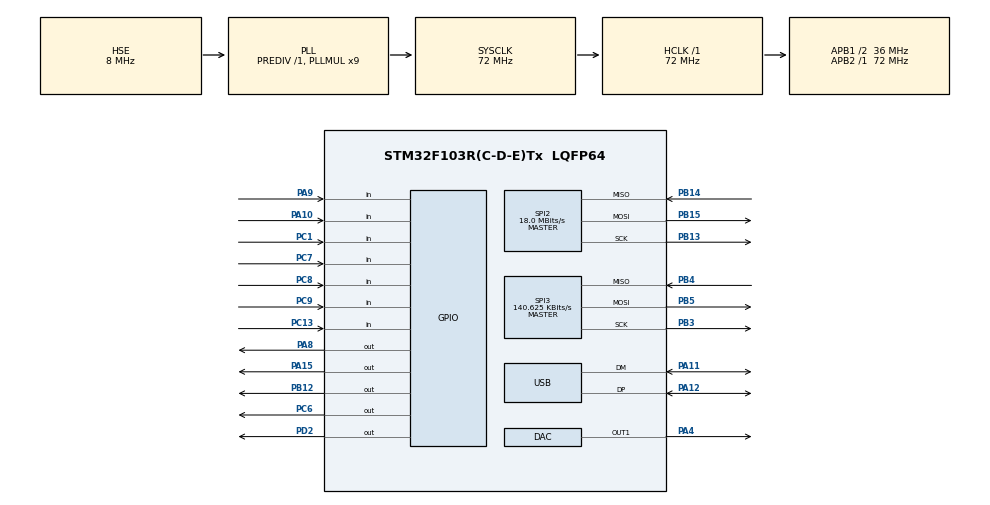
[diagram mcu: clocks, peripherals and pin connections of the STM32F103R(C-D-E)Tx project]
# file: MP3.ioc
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DAC.DAC_OutputBuffer=DAC_OUTPUTBUFFER_DISABLE
DAC.DAC_Trigger=DAC_TRIGGER_T6_TRGO
Dma.DAC_CH1.0.Direction=DMA_MEMORY_TO_PERIPH
Dma.DAC_CH1.0.Instance=DMA2_Channel3
Dma.DAC_CH1.0.MemDataAlignment=DMA_MDATAALIGN_HALFWORD
Dma.DAC_CH1.0.MemInc=DMA_MINC_ENABLE
Dma.DAC_CH1.0.Mode=DMA_CIRCULAR
Dma.DAC_CH1.0.PeriphDataAlignment=DMA_PDATAALIGN_HALFWORD
Dma.DAC_CH1.0.PeriphInc=DMA_PINC_DISABLE
Dma.DAC_CH1.0.Priority=DMA_PRIORITY_HIGH
Dma.Request0=DAC_CH1
FATFS._CODE_PAGE=437
FATFS._FS_NORTC=1
FATFS._FS_TINY=0
FATFS._NORTC_MON=10
FATFS._USE_LFN=2
Mcu.Family=STM32F1
Mcu.Name=STM32F103R(C-D-E)Tx
Mcu.Package=LQFP64
NVIC.DMA2_Channel3_IRQn=true\:0\:0\:false\:false\:true\:false
NVIC.PriorityGroup=NVIC_PRIORITYGROUP_2
NVIC.USB_LP_CAN1_RX0_IRQn=true\:0\:0\:false\:false\:true\:false
PA10.GPIO_PuPd=GPIO_PULLUP
PA10.Signal=GPIO_Input
PA11.Mode=Device
PA11.Signal=USB_DM
PA12.Mode=Device
PA12.Signal=USB_DP
PA13.Mode=Serial_Wire
PA13.Signal=SYS_JTMS-SWDIO
PA14.Mode=Serial_Wire
PA14.Signal=SYS_JTCK-SWCLK
PA15.GPIO_ModeDefaultOutputPP=GPIO_MODE_OUTPUT_PP
PA15.GPIO_Speed=GPIO_SPEED_FREQ_HIGH
PA15.PinState=GPIO_PIN_SET
PA15.Signal=GPIO_Output
PA4.Signal=COMP_DAC1_group
PA8.GPIO_Speed=GPIO_SPEED_FREQ_HIGH
PA8.PinState=GPIO_PIN_SET
PA8.Signal=GPIO_Output
PA9.GPIO_PuPd=GPIO_PULLUP
PA9.Signal=GPIO_Input
PB12.GPIO_Speed=GPIO_SPEED_FREQ_HIGH
PB12.Signal=GPIO_Output
PB13.Mode=Full_Duplex_Master
PB13.Signal=SPI2_SCK
PB14.Mode=Full_Duplex_Master
PB14.Signal=SPI2_MISO
PB15.Mode=Full_Duplex_Master
PB15.Signal=SPI2_MOSI
PB3.Mode=Full_Duplex_Master
PB3.Signal=SPI3_SCK
PB4.Mode=Full_Duplex_Master
PB4.Signal=SPI3_MISO
PB5.Mode=Full_Duplex_Master
PB5.Signal=SPI3_MOSI
PC1.GPIO_PuPd=GPIO_PULLUP
PC1.Signal=GPIO_Input
PC13-TAMPER-RTC.GPIO_PuPd=GPIO_PULLUP
PC13-TAMPER-RTC.Signal=GPIO_Input
PC14-OSC32_IN.Mode=LSE-External-Oscillator
PC14-OSC32_IN.Signal=RCC_OSC32_IN
PC15-OSC32_OUT.Mode=LSE-External-Oscillator
PC15-OSC32_OUT.Signal=RCC_OSC32_OUT
PC6.GPIO_Speed=GPIO_SPEED_FREQ_HIGH
PC6.Signal=GPIO_Output
PC7.GPIO_PuPd=GPIO_PULLUP
PC7.Signal=GPIO_Input
PC8.GPIO_PuPd=GPIO_PULLUP
PC8.Signal=GPIO_Input
PC9.GPIO_PuPd=GPIO_PULLUP
PC9.Signal=GPIO_Input
PD0-OSC_IN.Mode=HSE-External-Oscillator
PD0-OSC_IN.Signal=RCC_OSC_IN
PD1-OSC_OUT.Mode=HSE-External-Oscillator
PD1-OSC_OUT.Signal=RCC_OSC_OUT
PD2.PinState=GPIO_PIN_SET
PD2.Signal=GPIO_Output
ProjectManager.HeapSize=0x200
ProjectManager.StackSize=0x400
ProjectManager.TargetToolchain=MDK-ARM V5
RCC.AHBFreq_Value=72000000
RCC.APB1CLKDivider=RCC_HCLK_DIV2
RCC.APB1Freq_Value=36000000
RCC.APB1TimFreq_Value=72000000
RCC.APB2Freq_Value=72000000
RCC.APB2TimFreq_Value=72000000
RCC.HCLKFreq_Value=72000000
RCC.PLLMUL=RCC_PLL_MUL9
RCC.PLLSourceVirtual=RCC_PLLSOURCE_HSE
RCC.SYSCLKFreq_VALUE=72000000
RCC.SYSCLKSource=RCC_SYSCLKSOURCE_PLLCLK
RCC.USBFreq_Value=48000000
RCC.USBPrescaler=RCC_USBCLKSOURCE_PLL_DIV1_5
SH.COMP_DAC1_group.0=DAC_OUT1,DAC_OUT1
SPI2.CalculateBaudRate=18.0 MBits/s
SPI2.Direction=SPI_DIRECTION_2LINES
SPI2.Mode=SPI_MODE_MASTER
SPI2.VirtualType=VM_MASTER
SPI3.BaudRatePrescaler=SPI_BAUDRATEPRESCALER_256
SPI3.CLKPhase=SPI_PHASE_2EDGE
SPI3.CLKPolarity=SPI_POLARITY_HIGH
SPI3.CalculateBaudRate=140.625 KBits/s
SPI3.Direction=SPI_DIRECTION_2LINES
SPI3.Mode=SPI_MODE_MASTER
SPI3.VirtualType=VM_MASTER
TIM6.AutoReloadPreload=TIM_AUTORELOAD_PRELOAD_ENABLE
TIM6.Period=100
TIM6.Prescaler=71
TIM6.TIM_MasterOutputTrigger=TIM_TRGO_UPDATE
USB.ep0_mps=DEP0CTL_MPS_64
USB_DEVICE.CLASS_NAME_FS=CDC
USB_DEVICE.PRODUCT_STRING_CDC_FS=MP3
USB_DEVICE.VirtualMode=Cdc
USB_DEVICE.VirtualModeFS=Cdc_FS
VP_FATFS_VS_Generic.Mode=User_defined
VP_TIM6_VS_ClockSourceINT.Mode=Enable_Timer
VP_USB_DEVICE_VS_USB_DEVICE_CDC_FS.Mode=CDC_FS
board=MP3

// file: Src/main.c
/**
  ******************************************************************************
  * @file           : main.c
  * @brief          : Main program body
  ******************************************************************************
  * This notice applies to any and all portions of this file
  * that are not between comment pairs USER CODE BEGIN and
  * USER CODE END. Other portions of this file, whether
  * inserted by the user or by software development tools
  * are owned by their respective copyright owners.
  *
  * Copyright (c) 2018 STMicroelectronics International N.V.
  * All rights reserved.
  *
  * Redistribution and use in source and binary forms, with or without
  * modification, are permitted, provided that the following conditions are met:
  *
  * 1. Redistribution of source code must retain the above copyright notice,
  *    this list of conditions and the following disclaimer.
  * 2. Redistributions in binary form must reproduce the above copyright notice,
  *    this list of conditions and the following disclaimer in the documentation
  *    and/or other materials provided with the distribution.
  * 3. Neither the name of STMicroelectronics nor the names of other
  *    contributors to this software may be used to endorse or promote products
  *    derived from this software without specific written permission.
  * 4. This software, including modifications and/or derivative works of this
  *    software, must execute solely and exclusively on microcontroller or
  *    microprocessor devices manufactured by or for STMicroelectronics.
  * 5. Redistribution and use of this software other than as permitted under
  *    this license is void and will automatically terminate your rights under
  *    this license.
  *
  * THIS SOFTWARE IS PROVIDED BY STMICROELECTRONICS AND CONTRIBUTORS "AS IS"
  * AND ANY EXPRESS, IMPLIED OR STATUTORY WARRANTIES, INCLUDING, BUT NOT
  * LIMITED TO, THE IMPLIED WARRANTIES OF MERCHANTABILITY, FITNESS FOR A
  * PARTICULAR PURPOSE AND NON-INFRINGEMENT OF THIRD PARTY INTELLECTUAL PROPERTY
  * RIGHTS ARE DISCLAIMED TO THE FULLEST EXTENT PERMITTED BY LAW. IN NO EVENT
  * SHALL STMICROELECTRONICS OR CONTRIBUTORS BE LIABLE FOR ANY DIRECT, INDIRECT,
  * INCIDENTAL, SPECIAL, EXEMPLARY, OR CONSEQUENTIAL DAMAGES (INCLUDING, BUT NOT
  * LIMITED TO, PROCUREMENT OF SUBSTITUTE GOODS OR SERVICES; LOSS OF USE, DATA,
  * OR PROFITS; OR BUSINESS INTERRUPTION) HOWEVER CAUSED AND ON ANY THEORY OF
  * LIABILITY, WHETHER IN CONTRACT, STRICT LIABILITY, OR TORT (INCLUDING
  * NEGLIGENCE OR OTHERWISE) ARISING IN ANY WAY OUT OF THE USE OF THIS SOFTWARE,
  * EVEN IF ADVISED OF THE POSSIBILITY OF SUCH DAMAGE.
  *
  ******************************************************************************
  */
#include "main.h"
#include "stm32f1xx_hal.h"
#include "fatfs.h"
#include "usb_device.h"

/* USER CODE BEGIN Includes */
//用户设备驱动

#include "led.h"
#include "key.h"
#include "lcd.h"
#include "SDcard.h"
//上层应用
#include "gui.h"
#include "file.h"
#include "wav.h"
#include "UI.h"
/* USER CODE END Includes */

DAC_HandleTypeDef hdac;
DMA_HandleTypeDef hdma_dac_ch1;

SPI_HandleTypeDef hspi2;
SPI_HandleTypeDef hspi3;

TIM_HandleTypeDef htim6;

/* USER CODE BEGIN PV */
/* Private variables ---------------------------------------------------------*/
// const uint16_t CH_value[32] = {
//	 2448,2832,3186,3496,3751,3940,4057,4095,4057,3940,
//	 3751,3496,3186,2832,2448,2048,1648,1264,910,600,345,
//	 156,39,0,39,156,345,600,910,1264,1648,2048};

WAVInfoTypedef WAVInfo;
u32 SAMRate;
u16 PCMBit;
u16 WAY;
FIL WAV_file;

BYTE sdBUF[sdBUF_Size];
u16 DMA_BUF[DMA_BUF_Size];
char names[20][13];               /* 文件名 */
u8 old = 0xff;
u8 old_index;
u8 select = 1;
extern u8 file_num;
u8 state = 0;

/* USER CODE END PV */

void SystemClock_Config(void);
static void MX_GPIO_Init(void);
static void MX_DMA_Init(void);
static void MX_SPI2_Init(void);
static void MX_SPI3_Init(void);
static void MX_TIM6_Init(void);
static void MX_DAC_Init(void);

/* USER CODE BEGIN PFP */
/* Private function prototypes -----------------------------------------------*/

/* USER CODE END PFP */

int main(void)
{

  /* MCU Configuration----------------------------------------------------------*/

  /* Reset of all peripherals, Initializes the Flash interface and the Systick. */
  HAL_Init();

  /* Configure the system clock */
  SystemClock_Config();

  /* Initialize all configured peripherals */
  MX_GPIO_Init();
  MX_DMA_Init();
  MX_SPI2_Init();
  MX_USB_DEVICE_Init();
  MX_SPI3_Init();
  MX_FATFS_Init();
  MX_TIM6_Init();
  MX_DAC_Init();
  /* USER CODE BEGIN 2 */
	LED0_ON;

  if(SD_mount() == FR_OK)
	{
		scan_files ("");
		UI_Init();
		if (file_num == 0)   UI_Info("NO WAV",RED);
  }else
	{
		UI_Init();
	  UI_Info("SD Error",RED);
	}
//	UI_Info("I'm Colorful",RED);

  /* USER CODE END 2 */

  /* Infinite loop */
  while (1)
  {

  /* USER CODE BEGIN 3 */
		if(state == 1)                                 {WAV_CHBUF(&WAV_file,sdBUF,DMA_BUF,PCMBit,WAY);}
		//开发板按键
		if (KEY0_StateRead() == KEY_DOWN)              {LEDx_StateSet(LED0,LED_TOGGLE);}
		if (KEY1_StateRead() == KEY_DOWN)              {LEDx_StateSet(LED1,LED_TOGGLE);}
		//用户按键
		if(KEY_UP_StateRead() == KEY_DOWN)
		{
			select--;
			if(select == 0)select = 1;
      UI_Select(select);
		}
		if(KEY_DOWN_StateRead() == KEY_DOWN)
		{
      select++;
		  if(select > file_num) select = file_num;
			UI_Select(select);
		}
		if(KEY_LEFT_StateRead() == KEY_DOWN)
		{
			u16 ii;
			HAL_TIM_Base_Stop(&htim6);
			HAL_DAC_Stop_DMA(&hdac,DAC_CHANNEL_1);
			for(ii=0;ii<=DMA_BUF_Size;ii++)
			{
				DMA_BUF[ii]=0;
			}
			state = 0;
		}
		if(KEY_RIGHT_StateRead() == KEY_DOWN)
    {
			HAL_TIM_Base_Stop(&htim6);
			HAL_DAC_Stop_DMA(&hdac,DAC_CHANNEL_1);
			WAV_STOP(&WAV_file);
			state = 2;
		}
		if(KEY_OK_StateRead() == KEY_DOWN)
    {
			if (select - 1 != old || state == 2)
			{
				HAL_TIM_Base_Stop(&htim6);
			  HAL_DAC_Stop_DMA(&hdac,DAC_CHANNEL_1);
			  WAV_STOP(&WAV_file);
			  state = 0;

				WAV_GET_Info(names[select - 1],&WAVInfo);
				WAV_GET_SAMRate(&WAVInfo,&SAMRate);
				WAV_GET_PCMBit(&WAVInfo,&PCMBit);
				WAV_GET_WAY(&WAVInfo,&WAY);
				WAV_PreLoad(names[select - 1],&WAV_file);
				WAV_READ(&WAV_file,sdBUF,DMA_BUF,0, PCMBit, WAY);
				WAV_READ(&WAV_file,sdBUF,DMA_BUF,1, PCMBit, WAY);
				MX_TIM6_Init();
				old = select - 1;

				HAL_TIM_Base_Start(&htim6);
				HAL_DAC_Start_DMA(&hdac,DAC_CHANNEL_1,(uint32_t *)DMA_BUF,DMA_BUF_Size,DAC_ALIGN_12B_L);
				state = 1;
			}else
			{
				HAL_TIM_Base_Start(&htim6);
				HAL_DAC_Start_DMA(&hdac,DAC_CHANNEL_1,(uint32_t *)DMA_BUF,DMA_BUF_Size,DAC_ALIGN_12B_L);
				state = 1;
			}

		}
  }
  /* USER CODE END 3 */

}

void SystemClock_Config(void)
{

  RCC_OscInitTypeDef RCC_OscInitStruct;
  RCC_ClkInitTypeDef RCC_ClkInitStruct;
  RCC_PeriphCLKInitTypeDef PeriphClkInit;

    /**Initializes the CPU, AHB and APB busses clocks
    */
  RCC_OscInitStruct.OscillatorType = RCC_OSCILLATORTYPE_HSE;
  RCC_OscInitStruct.HSEState = RCC_HSE_ON;
  RCC_OscInitStruct.HSEPredivValue = RCC_HSE_PREDIV_DIV1;
  RCC_OscInitStruct.HSIState = RCC_HSI_ON;
  RCC_OscInitStruct.PLL.PLLState = RCC_PLL_ON;
  RCC_OscInitStruct.PLL.PLLSource = RCC_PLLSOURCE_HSE;
  RCC_OscInitStruct.PLL.PLLMUL = RCC_PLL_MUL9;
  if (HAL_RCC_OscConfig(&RCC_OscInitStruct) != HAL_OK)
  {
    _Error_Handler(__FILE__, __LINE__);
  }

    /**Initializes the CPU, AHB and APB busses clocks
    */
  RCC_ClkInitStruct.ClockType = RCC_CLOCKTYPE_HCLK|RCC_CLOCKTYPE_SYSCLK
                              |RCC_CLOCKTYPE_PCLK1|RCC_CLOCKTYPE_PCLK2;
  RCC_ClkInitStruct.SYSCLKSource = RCC_SYSCLKSOURCE_PLLCLK;
  RCC_ClkInitStruct.AHBCLKDivider = RCC_SYSCLK_DIV1;
  RCC_ClkInitStruct.APB1CLKDivider = RCC_HCLK_DIV2;
  RCC_ClkInitStruct.APB2CLKDivider = RCC_HCLK_DIV1;

  if (HAL_RCC_ClockConfig(&RCC_ClkInitStruct, FLASH_LATENCY_2) != HAL_OK)
  {
    _Error_Handler(__FILE__, __LINE__);
  }

  PeriphClkInit.PeriphClockSelection = RCC_PERIPHCLK_USB;
  PeriphClkInit.UsbClockSelection = RCC_USBCLKSOURCE_PLL_DIV1_5;
  if (HAL_RCCEx_PeriphCLKConfig(&PeriphClkInit) != HAL_OK)
  {
    _Error_Handler(__FILE__, __LINE__);
  }

    /**Configure the Systick interrupt time
    */
  HAL_SYSTICK_Config(HAL_RCC_GetHCLKFreq()/1000);

    /**Configure the Systick
    */
  HAL_SYSTICK_CLKSourceConfig(SYSTICK_CLKSOURCE_HCLK);

  /* SysTick_IRQn interrupt configuration */
  HAL_NVIC_SetPriority(SysTick_IRQn, 0, 0);
}

/* DAC init function */
static void MX_DAC_Init(void)
{

  DAC_ChannelConfTypeDef sConfig;

    /**DAC Initialization
    */
  hdac.Instance = DAC;
  if (HAL_DAC_Init(&hdac) != HAL_OK)
  {
    _Error_Handler(__FILE__, __LINE__);
  }

    /**DAC channel OUT1 config
    */
  sConfig.DAC_Trigger = DAC_TRIGGER_T6_TRGO;
  sConfig.DAC_OutputBuffer = DAC_OUTPUTBUFFER_ENABLE;
  if (HAL_DAC_ConfigChannel(&hdac, &sConfig, DAC_CHANNEL_1) != HAL_OK)
  {
    _Error_Handler(__FILE__, __LINE__);
  }

}

/* SPI2 init function */
static void MX_SPI2_Init(void)
{

  /* SPI2 parameter configuration*/
  hspi2.Instance = SPI2;
  hspi2.Init.Mode = SPI_MODE_MASTER;
  hspi2.Init.Direction = SPI_DIRECTION_2LINES;
  hspi2.Init.DataSize = SPI_DATASIZE_8BIT;
  hspi2.Init.CLKPolarity = SPI_POLARITY_LOW;
  hspi2.Init.CLKPhase = SPI_PHASE_1EDGE;
  hspi2.Init.NSS = SPI_NSS_SOFT;
  hspi2.Init.BaudRatePrescaler = SPI_BAUDRATEPRESCALER_2;
  hspi2.Init.FirstBit = SPI_FIRSTBIT_MSB;
  hspi2.Init.TIMode = SPI_TIMODE_DISABLE;
  hspi2.Init.CRCCalculation = SPI_CRCCALCULATION_DISABLE;
  hspi2.Init.CRCPolynomial = 10;
  if (HAL_SPI_Init(&hspi2) != HAL_OK)
  {
    _Error_Handler(__FILE__, __LINE__);
  }

}

/* SPI3 init function */
static void MX_SPI3_Init(void)
{

  /* SPI3 parameter configuration*/
  hspi3.Instance = SPI3;
  hspi3.Init.Mode = SPI_MODE_MASTER;
  hspi3.Init.Direction = SPI_DIRECTION_2LINES;
  hspi3.Init.DataSize = SPI_DATASIZE_8BIT;
  hspi3.Init.CLKPolarity = SPI_POLARITY_HIGH;
  hspi3.Init.CLKPhase = SPI_PHASE_2EDGE;
  hspi3.Init.NSS = SPI_NSS_SOFT;
  hspi3.Init.BaudRatePrescaler = SPI_BAUDRATEPRESCALER_256;
  hspi3.Init.FirstBit = SPI_FIRSTBIT_MSB;
  hspi3.Init.TIMode = SPI_TIMODE_DISABLE;
  hspi3.Init.CRCCalculation = SPI_CRCCALCULATION_DISABLE;
  hspi3.Init.CRCPolynomial = 10;
  if (HAL_SPI_Init(&hspi3) != HAL_OK)
  {
    _Error_Handler(__FILE__, __LINE__);
  }

}

/* TIM6 init function */
static void MX_TIM6_Init(void)
{

  TIM_MasterConfigTypeDef sMasterConfig;

  htim6.Instance = TIM6;
  htim6.Init.Prescaler = 72;
  htim6.Init.CounterMode = TIM_COUNTERMODE_UP;
  htim6.Init.Period =1000000 / SAMRate;
  htim6.Init.AutoReloadPreload = TIM_AUTORELOAD_PRELOAD_ENABLE;
  if (HAL_TIM_Base_Init(&htim6) != HAL_OK)
  {
    _Error_Handler(__FILE__, __LINE__);
  }

  sMasterConfig.MasterOutputTrigger = TIM_TRGO_UPDATE;
  sMasterConfig.MasterSlaveMode = TIM_MASTERSLAVEMODE_DISABLE;
  if (HAL_TIMEx_MasterConfigSynchronization(&htim6, &sMasterConfig) != HAL_OK)
  {
    _Error_Handler(__FILE__, __LINE__);
  }

}

static void MX_DMA_Init(void)
{
  /* DMA controller clock enable */
  __HAL_RCC_DMA2_CLK_ENABLE();

  /* DMA interrupt init */
  /* DMA2_Channel3_IRQn interrupt configuration */
  HAL_NVIC_SetPriority(DMA2_Channel3_IRQn, 0, 0);
  HAL_NVIC_EnableIRQ(DMA2_Channel3_IRQn);

}

/** Configure pins as
        * Analog
        * Input
        * Output
        * EVENT_OUT
        * EXTI
*/
static void MX_GPIO_Init(void)
{

  GPIO_InitTypeDef GPIO_InitStruct;

  /* GPIO Ports Clock Enable */
  __HAL_RCC_GPIOC_CLK_ENABLE();
  __HAL_RCC_GPIOD_CLK_ENABLE();
  __HAL_RCC_GPIOA_CLK_ENABLE();
  __HAL_RCC_GPIOB_CLK_ENABLE();

  /*Configure GPIO pin Output Level */
  HAL_GPIO_WritePin(GPIOB, GPIO_PIN_12, GPIO_PIN_RESET);

  /*Configure GPIO pin Output Level */
  HAL_GPIO_WritePin(GPIOC, GPIO_PIN_6, GPIO_PIN_RESET);

  /*Configure GPIO pin Output Level */
  HAL_GPIO_WritePin(GPIOA, GPIO_PIN_8|GPIO_PIN_15, GPIO_PIN_SET);

  /*Configure GPIO pin Output Level */
  HAL_GPIO_WritePin(GPIOD, GPIO_PIN_2, GPIO_PIN_SET);

  /*Configure GPIO pins : PC13 PC1 PC7 PC8
                           PC9 */
  GPIO_InitStruct.Pin = GPIO_PIN_13|GPIO_PIN_1|GPIO_PIN_7|GPIO_PIN_8
                          |GPIO_PIN_9;
  GPIO_InitStruct.Mode = GPIO_MODE_INPUT;
  GPIO_InitStruct.Pull = GPIO_PULLUP;
  HAL_GPIO_Init(GPIOC, &GPIO_InitStruct);

  /*Configure GPIO pin : PB12 */
  GPIO_InitStruct.Pin = GPIO_PIN_12;
  GPIO_InitStruct.Mode = GPIO_MODE_OUTPUT_PP;
  GPIO_InitStruct.Speed = GPIO_SPEED_FREQ_HIGH;
  HAL_GPIO_Init(GPIOB, &GPIO_InitStruct);

  /*Configure GPIO pin : PC6 */
  GPIO_InitStruct.Pin = GPIO_PIN_6;
  GPIO_InitStruct.Mode = GPIO_MODE_OUTPUT_PP;
  GPIO_InitStruct.Speed = GPIO_SPEED_FREQ_HIGH;
  HAL_GPIO_Init(GPIOC, &GPIO_InitStruct);

  /*Configure GPIO pins : PA8 PA15 */
  GPIO_InitStruct.Pin = GPIO_PIN_8|GPIO_PIN_15;
  GPIO_InitStruct.Mode = GPIO_MODE_OUTPUT_PP;
  GPIO_InitStruct.Speed = GPIO_SPEED_FREQ_HIGH;
  HAL_GPIO_Init(GPIOA, &GPIO_InitStruct);

  /*Configure GPIO pins : PA9 PA10 */
  GPIO_InitStruct.Pin = GPIO_PIN_9|GPIO_PIN_10;
  GPIO_InitStruct.Mode = GPIO_MODE_INPUT;
  GPIO_InitStruct.Pull = GPIO_PULLUP;
  HAL_GPIO_Init(GPIOA, &GPIO_InitStruct);

  /*Configure GPIO pin : PD2 */
  GPIO_InitStruct.Pin = GPIO_PIN_2;
  GPIO_InitStruct.Mode = GPIO_MODE_OUTPUT_PP;
  GPIO_InitStruct.Speed = GPIO_SPEED_FREQ_LOW;
  HAL_GPIO_Init(GPIOD, &GPIO_InitStruct);

}

void _Error_Handler(char *file, int line)
{
  while(1)
  {
  }
}

/************************ (C) COPYRIGHT STMicroelectronics *****END OF FILE****/
